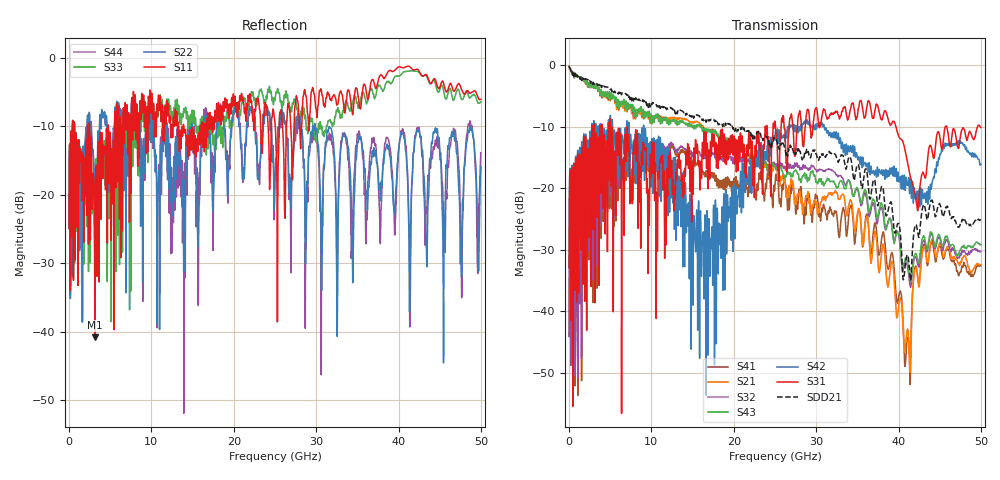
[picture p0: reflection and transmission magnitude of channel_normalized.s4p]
! Created with skrf 1.8.0 (http://scikit-rf.org).
# GHz S RI R 40.0
!freq ReS11 ImS11 ReS12 ImS12 ReS13 ImS13
! ReS14 ImS14
! ReS21 ImS21 ReS22 ImS22 ReS23 ImS23
! ReS24 ImS24
! ReS31 ImS31 ReS32 ImS32 ReS33 ImS33
! ReS34 ImS34
! ReS41 ImS41 ReS42 ImS42 ReS43 ImS43
! ReS44 ImS44
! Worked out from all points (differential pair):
!   5000 points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, 10 MHz to 50 GHz, reference 40 ohm
!   strongest paths, dB at 10 MHz, 12.51 GHz, 25.01 GHz, 37.51 GHz, 50 GHz:
!     S31: -32.9, -18.3, -9.1, -6.7, -10.1
!     S42: -32.9, -15.7, -11.3, -17.8, -16.1
!     S43: -0.2, -9.1, -16.5, -24.6, -29.2
!     S32: -44.1, -12.7, -16.3, -25.1, -30.3
!     S21: -0.2, -8.7, -16.3, -32.2, -32.5
!     S41: -44.1, -13.1, -19.3, -29.9, -32.6
!   taken as a pair (ports 3,1 in; 4,2 out), SDD21 dB: -0.1, -7.1, -11.8, -22.8, -25.2
!   lowest |S11| = -40.8 dB at 3.13 GHz (marker M1), VSWR 1.02, Z = 40.4 + j0.634 ohm
!   |S11| at or under -10 dB: 659.7 MHz to 2.243 GHz (1.583 GHz wide, 109 % of centre); 2.486 GHz to 4.734 GHz (2.247 GHz wide, 62.3 % of centre); 13.92 GHz to 15.92 GHz (1.993 GHz wide, 13.4 % of centre)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
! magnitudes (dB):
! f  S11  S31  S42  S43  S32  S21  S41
! 10 MHz  -24.9  -32.9  -32.9  -0.2  -44.1  -0.2  -44.1
! 3.13 GHz  -40.8  -38.6  -17.0  -3.0  -33.4  -3.0  -36.2
! 16.63 GHz  -12.9  -11.9  -42.4  -11.0  -14.8  -10.5  -17.2
! 24.23 GHz  -11.5  -11.8  -14.0  -17.0  -16.5  -16.6  -18.1
! 41.27 GHz  -1.3  -17.0  -18.8  -33.6  -34.6  -45.5  -45.9
! 43.04 GHz  -2.7  -17.6  -21.7  -27.7  -28.5  -29.5  -29.2
! 50 GHz  -6.1  -10.1  -16.1  -29.2  -30.3  -32.5  -32.6
